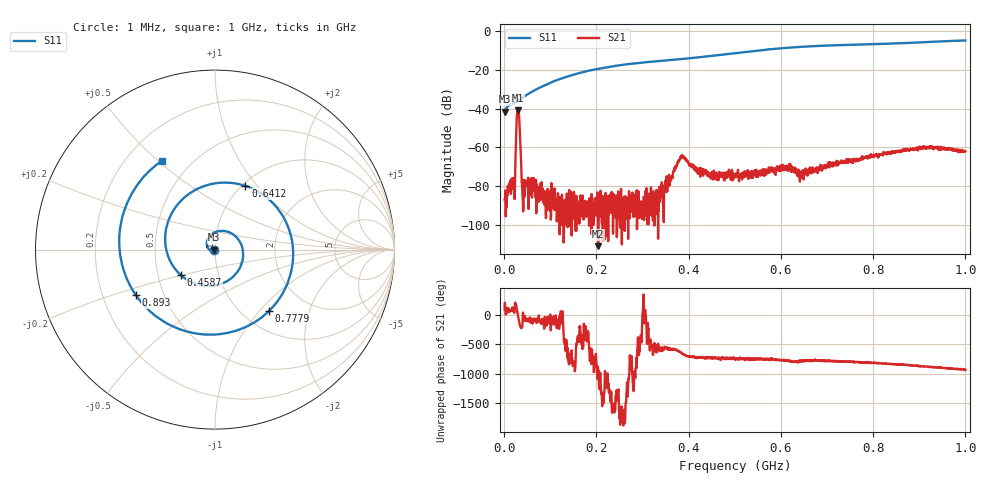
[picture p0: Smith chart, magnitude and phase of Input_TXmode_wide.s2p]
# HZ S RI R 50
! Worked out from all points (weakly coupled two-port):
!   1616 points, 1 MHz to 1 GHz, reference 50 ohm
!   highest |S21| = -40.77 dB at 30.07 MHz (marker M1); lowest = -111.0 dB at 203.9 MHz (marker M2)
!   lowest |S11| = -41.6 dB at 1 MHz (marker M3), VSWR 1.02, Z = 49.2 - j0.117 ohm
!   |S11| at or under -10 dB: start of sweep to 549.3 MHz
!   S12 and S22 are empty: the file has one direction only
!   S11 on the Smith chart (normalised r, x): 1 MHz: 0.98, -0.00; 458.7 MHz: 0.66, -0.20; 641.2 MHz: 1.04, +0.87; 777.9 MHz: 1.31, -1.13; 893 MHz: 0.35, -0.24; 1 GHz: 0.35, +0.51
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1000000  -0.00821 -0.00119  2.4e-06 4.43e-05  0 0  0 0
1.955728e7  -0.0131 -0.00392  7.96e-05 0.00014  0 0  0 0
3.007307e7  -0.0153 -0.00519  0.00876 -0.00263  0 0  0 0
3.254738e7  -0.0159 -0.00541  -0.00394 -0.00479  0 0  0 0
3.935171e7  -0.0186 -0.00551  -7.4e-05 3.37e-05  0 0  0 0
4.306317e7  -0.02 -0.00542  3.38e-05 -0.000142  0 0  0 0
1.680155e8  -0.0222 0.0831  3.98e-05 1.67e-05  0 0  0 0
2.038929e8  0.0253 0.1041  5.55e-07 2.76e-06  0 0  0 0
3.344125e8  0.1456 -0.0859  -3.82e-05 2.47e-05  0 0  0 0
3.585369e8  0.1111 -0.1407  -8.36e-05 6.17e-05  0 0  0 0
3.863728e8  0.0444 -0.1872  0.000276 0.000486  0 0  0 0
4.587462e8  -0.1891 -0.1432  0.000202 -6.69e-05  0 0  0 0
5.008094e8  -0.272 0.00131  0.000167 -0.000102  0 0  0 0
6.065859e8  -0.013 0.3667  0.000198 -0.000198  0 0  0 0
6.412262e8  0.1693 0.3553  8.42e-05 -9.96e-05  0 0  0 0
6.672064e8  0.2954 0.2838  9.4e-05 -0.000194  0 0  0 0
7.253525e8  0.4353 -0.0237  0.000116 -0.000347  0 0  0 0
7.779315e8  0.3014 -0.3404  1.12e-05 -0.000491  0 0  0 0
8.336033e8  -0.0604 -0.4731  -0.000271 -0.000711  0 0  0 0
8.929866e8  -0.4409 -0.2533  -0.0007 -0.000556  0 0  0 0
9.443284e8  -0.5261 0.1322  -0.000845 -0.000103  0 0  0 0
1e9  -0.2956 0.4953  -0.000666 0.000421  0 0  0 0
